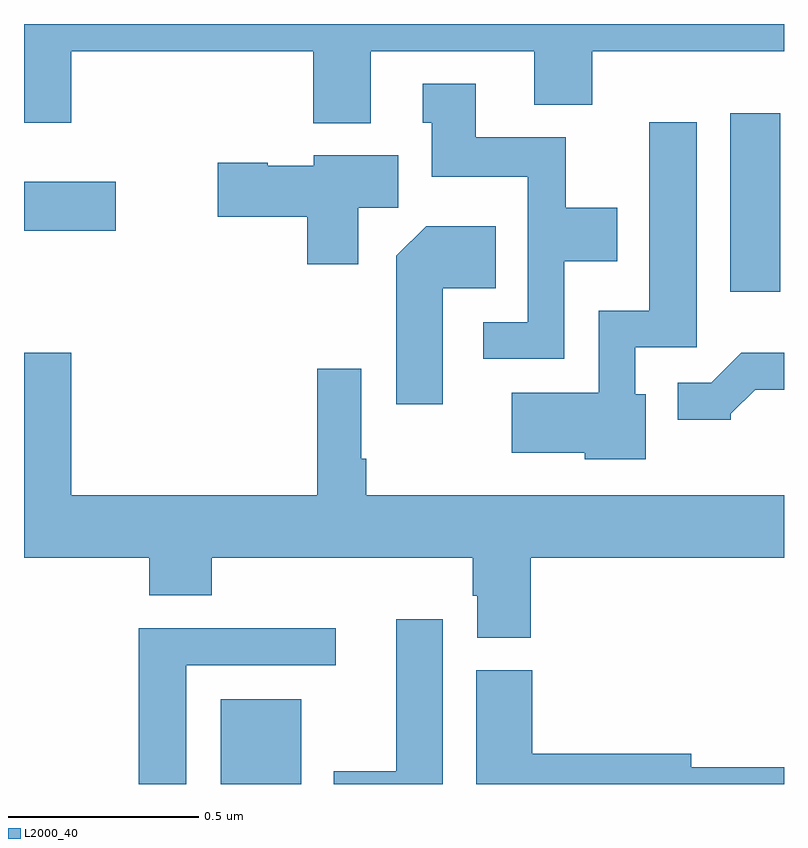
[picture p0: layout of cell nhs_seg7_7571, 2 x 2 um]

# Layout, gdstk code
import gdstk
lib = gdstk.Library(unit=1e-6, precision=1e-09)
def R(c, l, rs):  # rectangles x0, y0, x1, y1
    for r in rs: c.add(gdstk.rectangle(r[:2], r[2:], *l))
def P(c, l, *ps):  # polygons
    for p in ps: c.add(gdstk.Polygon(p, *l))
L2000_40 = (2000, 40)

nhs_seg7_7571 = lib.new_cell('nhs_seg7_7571')
R(nhs_seg7_7571, L2000_40, [(213.518,1020,213.73,1020.223), (214.859,1021.296,214.99,1021.765), (213,1021.456,213.241,1021.585)])
P(nhs_seg7_7571, L2000_40, [(213.913,1021.928),(214.343,1021.928),(214.343,1021.787),(214.496,1021.787),(214.496,1021.928),(215,1021.928),(215,1022),(213,1022),(213,1021.74),(213.124,1021.74),(213.124,1021.928),(213.761,1021.928),(213.761,1021.739),(213.913,1021.739)],
  [(214.422,1021.376),(214.561,1021.376),(214.561,1021.516),(214.425,1021.516),(214.425,1021.702),(214.189,1021.702),(214.189,1021.843),(214.049,1021.843),(214.049,1021.74),(214.073,1021.74),(214.073,1021.598),(214.326,1021.598),(214.326,1021.215),(214.209,1021.215),(214.209,1021.119),(214.422,1021.119)],
  [(214.636,1021.026),(214.608,1021.026),(214.608,1021.149),(214.771,1021.149),(214.771,1021.741),(214.646,1021.741),(214.646,1021.246),(214.512,1021.246),(214.512,1021.03),(214.284,1021.03),(214.284,1020.872),(214.476,1020.872),(214.476,1020.854),(214.636,1020.854)],
  [(213.88,1021.516),(213.985,1021.516),(213.985,1021.654),(213.762,1021.654),(213.762,1021.627),(213.642,1021.627),(213.642,1021.635),(213.51,1021.635),(213.51,1021.493),(213.746,1021.493),(213.746,1021.368),(213.88,1021.368)],
  [(214.102,1021.304),(214.241,1021.304),(214.241,1021.468),(214.058,1021.468),(213.98,1021.39),(213.98,1020.999),(214.102,1020.999)],
  [(214.86,1020.974),(214.924,1021.038),(215,1021.038),(215,1021.135),(214.888,1021.135),(214.809,1021.056),(214.721,1021.056),(214.721,1020.959),(214.86,1020.959)],
  [(214.334,1020.596),(215,1020.596),(215,1020.76),(213.901,1020.76),(213.901,1020.856),(213.888,1020.856),(213.888,1021.093),(213.772,1021.093),(213.772,1020.76),(213.124,1020.76),(213.124,1021.135),(213,1021.135),(213,1020.596),(213.329,1020.596),(213.329,1020.497),(213.494,1020.497),(213.494,1020.596),(214.181,1020.596),(214.181,1020.495),(214.193,1020.495),(214.193,1020.385),(214.334,1020.385)],
  [(214.102,1020.433),(213.98,1020.433),(213.98,1020.034),(213.815,1020.034),(213.815,1020),(214.102,1020)],
  [(213.427,1020.312),(213.82,1020.312),(213.82,1020.41),(213.302,1020.41),(213.302,1020),(213.427,1020)],
  [(215,1020.044),(214.756,1020.044),(214.756,1020.08),(214.337,1020.08),(214.337,1020.3),(214.19,1020.3),(214.19,1020),(215,1020)])

lib.write_gds('nhs_seg7_7571.gds')
